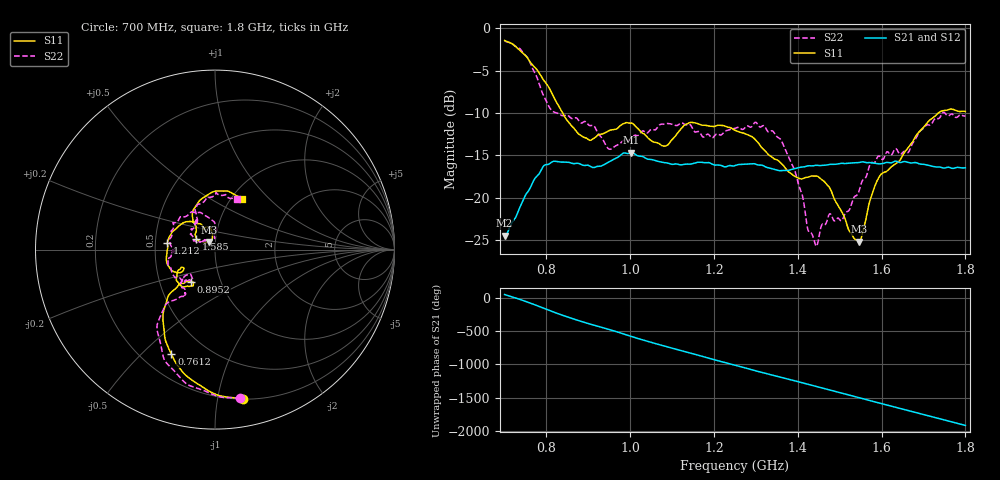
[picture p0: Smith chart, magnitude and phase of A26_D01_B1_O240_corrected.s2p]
! Created with skrf 1.9.0 (http://scikit-rf.org).
# Hz S RI R 50.0
!freq ReS11 ImS11 ReS21 ImS21 ReS12 ImS12 ReS22 ImS22
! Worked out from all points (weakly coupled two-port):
!   1601 points, 700 MHz to 1.8 GHz, reference 50 ohm
!   highest |S21| = -14.67 dB at 1.002 GHz (marker M1); lowest = -24.4 dB at 700 MHz (marker M2)
!   lowest |S11| = -25.2 dB at 1.547 GHz (marker M3), VSWR 1.12, Z = 46.5 + j3.98 ohm
!   |S11| at or under -10 dB: 838.3 MHz to 1.735 GHz (897.1 MHz wide, 69.7 % of centre)
!   |S22| runs from -25.7 to -1.5 dB; largest |S21 - S12| = 0.0037
!   S11 on the Smith chart (normalised r, x): 700 MHz: 0.20, -1.19; 761.2 MHz: 0.32, -0.62; 895.2 MHz: 0.72, -0.27; 1.212 GHz: 0.58, +0.05; 1.585 GHz: 0.81, +0.10; 1.8 GHz: 1.12, +0.71
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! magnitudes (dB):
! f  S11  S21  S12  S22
! 700 MHz  -1.5  -24.4  -24.2  -1.5
! 761.2 MHz  -4.0  -18.8  -18.7  -4.1
! 811.4 MHz  -7.5  -15.8  -15.8  -9.6
! 883.6 MHz  -12.7  -16.1  -16.0  -11.2
! 895.2 MHz  -13.0  -16.2  -16.3  -11.1
! 950.2 MHz  -12.1  -15.7  -15.7  -14.3
! 1.002 GHz  -11.2  -14.7  -14.8  -13.0
! 1.067 GHz  -13.6  -15.7  -15.7  -11.6
! 1.141 GHz  -11.1  -16.0  -16.0  -11.3
! 1.212 GHz  -11.4  -16.1  -16.1  -12.5
! 1.25 GHz  -12.0  -16.2  -16.1  -11.8
! 1.359 GHz  -15.9  -16.8  -16.8  -13.1
! 1.393 GHz  -17.5  -16.6  -16.5  -16.8
! 1.434 GHz  -17.4  -16.2  -16.2  -24.3
! 1.445 GHz  -17.4  -16.2  -16.2  -25.7
! 1.506 GHz  -21.7  -15.9  -15.9  -22.6
! 1.547 GHz  -25.2  -15.8  -15.8  -19.0
! 1.585 GHz  -18.4  -16.0  -16.0  -15.7
! 1.617 GHz  -16.7  -15.8  -15.8  -14.7
! 1.663 GHz  -14.2  -15.8  -15.8  -14.7
! 1.736 GHz  -10.0  -16.4  -16.4  -10.7
! 1.8 GHz  -9.8  -16.5  -16.5  -10.3
